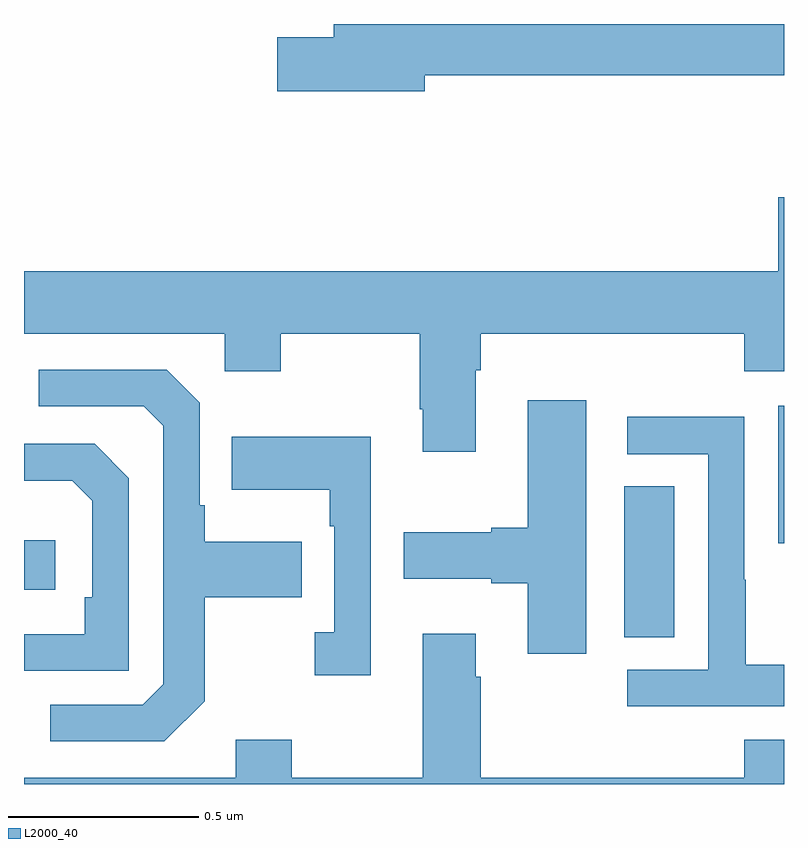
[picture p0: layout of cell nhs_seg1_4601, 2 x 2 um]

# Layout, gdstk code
import gdstk
lib = gdstk.Library(unit=1e-6, precision=1e-09)
def R(c, l, rs):  # rectangles x0, y0, x1, y1
    for r in rs: c.add(gdstk.rectangle(r[:2], r[2:], *l))
def P(c, l, *ps):  # polygons
    for p in ps: c.add(gdstk.Polygon(p, *l))
L2000_40 = (2000, 40)

nhs_seg1_4601 = lib.new_cell('nhs_seg1_4601')
R(nhs_seg1_4601, L2000_40, [(169.58,565.585,169.711,565.982), (168,565.71,168.082,565.84), (169.985,565.833,170,566.194)])
P(nhs_seg1_4601, L2000_40, [(169.054,567.064),(170,567.064),(170,567.199),(168.815,567.199),(168.815,567.164),(168.666,567.164),(168.666,567.022),(169.054,567.022)],
  [(169.189,566.288),(169.202,566.288),(169.202,566.384),(169.895,566.384),(169.895,566.285),(170,566.285),(170,566.743),(169.985,566.743),(169.985,566.548),(168,566.548),(168,566.384),(168.528,566.384),(168.528,566.285),(168.675,566.285),(168.675,566.384),(169.042,566.384),(169.042,566.185),(169.049,566.185),(169.049,566.073),(169.189,566.073)],
  [(168.475,565.417),(168.475,565.69),(168.731,565.69),(168.731,565.837),(168.475,565.837),(168.475,565.933),(168.462,565.933),(168.462,566.202),(168.375,566.289),(168.039,566.289),(168.039,566.193),(168.315,566.193),(168.366,566.142),(168.366,565.461),(168.312,565.407),(168.069,565.407),(168.069,565.311),(168.369,565.311)],
  [(169.48,566.209),(169.325,566.209),(169.325,565.874),(169.229,565.874),(169.229,565.861),(168.999,565.861),(168.999,565.739),(169.229,565.739),(169.229,565.727),(169.325,565.727),(169.325,565.542),(169.48,565.542)],
  [(170,565.513),(169.899,565.513),(169.899,565.736),(169.896,565.736),(169.896,566.166),(169.587,566.166),(169.587,566.067),(169.8,566.067),(169.8,565.5),(169.587,565.5),(169.587,565.404),(170,565.404)],
  [(168.912,566.113),(168.547,566.113),(168.547,565.973),(168.804,565.973),(168.804,565.877),(168.816,565.877),(168.816,565.598),(168.765,565.598),(168.765,565.485),(168.912,565.485)],
  [(168.276,566.004),(168.186,566.094),(168,566.094),(168,565.997),(168.127,565.997),(168.18,565.944),(168.18,565.69),(168.16,565.69),(168.16,565.593),(168,565.593),(168,565.497),(168.276,565.497)],
  [(170,565.315),(169.895,565.315),(169.895,565.216),(169.202,565.216),(169.202,565.481),(169.189,565.481),(169.189,565.594),(169.049,565.594),(169.049,565.216),(168.705,565.216),(168.705,565.315),(168.557,565.315),(168.557,565.216),(168,565.216),(168,565.199),(170,565.199)])

lib.write_gds('nhs_seg1_4601.gds')
